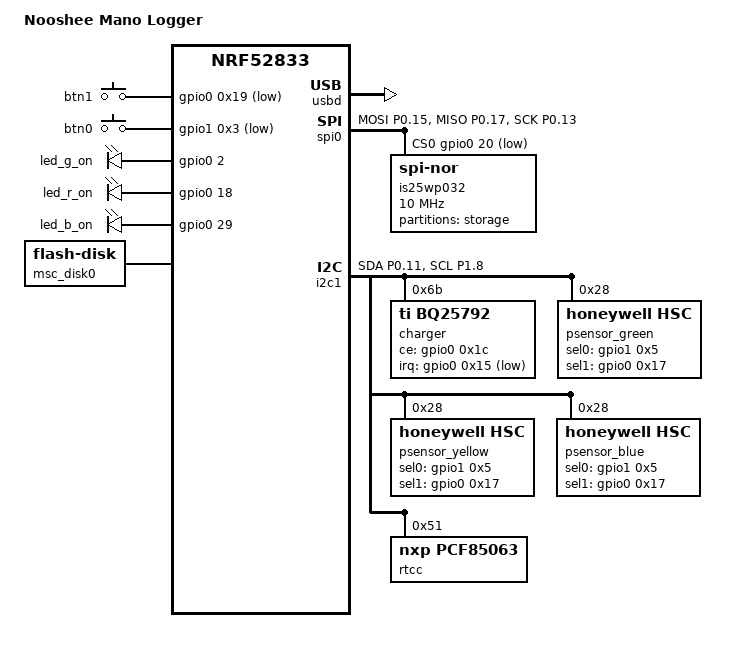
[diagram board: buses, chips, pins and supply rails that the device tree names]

/dts-v1/;
#include <nordic/nrf52833_qiaa.dtsi>

/ {
	model = "Nooshee Mano Logger";
	compatible = "nooshee,log-nrf52833";


	chosen {
		zephyr,sram = &sram0;
		zephyr,flash = &flash0;
		zephyr,code-partition = &slot0_partition;
		zephyr,shell-uart = &cdc_acm_uart0;
		nordic,pm-ext-flash = &is25wp032;
		zephyr,uart-mcumgr = &cdc_acm_uart0;
	};
	aliases {
		mcuboot-button0 = &btn0;
	};

    buttons {
		compatible = "gpio-keys";
		btn1: btn1 {
			gpios = < &gpio0 0x19 0x11 >;
		};
		btn0: btn0 {
			gpios = < &gpio1 0x3 0x11 >;
		};
	};

    leds {
        compatible = "gpio-leds";
        led_g_on { gpios = <&gpio0 2 GPIO_ACTIVE_HIGH>; }; // P0.02
        led_r_on { gpios = <&gpio0 18 GPIO_ACTIVE_HIGH>; }; // P0.18
        led_b_on { gpios = <&gpio0 29 GPIO_ACTIVE_HIGH>; }; // P0.29
    };
    msc_disk0 {
        compatible = "zephyr,flash-disk";
        partition = < &external_flash >;
        disk-name = "NAND";
        cache-size = < 0x1000 >;
    };


};




&usbd {
	compatible = "nordic,nrf-usbd";
	status = "okay"; 

	
	cdc_acm_uart0: cdc_acm_uart0 {
		compatible = "zephyr,cdc-acm-uart";
	};
};



&pinctrl {
    spi_psel:  spi_psel{group1 {psels = <NRF_PSEL(SPIM_MOSI, 0, 15)>,<NRF_PSEL(SPIM_MISO, 0, 17)>,<NRF_PSEL(SPIM_SCK, 0, 13)>;};};
    i2c_psel: i2c_psel{group1 {psels = <NRF_PSEL(TWIM_SDA, 0, 11)>,<NRF_PSEL(TWIM_SCL, 1, 8)>;};};
};

&gpio0 {
	status = "okay";
};

&gpio1 {
	status = "okay";
};

&gpiote {
	status = "okay";
	interrupts = <6 NRF_DEFAULT_IRQ_PRIORITY>;
};


&spi0 {
	status = "okay";
	compatible = "nordic,nrf-spi";
	pinctrl-0 = <&spi_psel>;
    pinctrl-1 = <&spi_psel>;
    pinctrl-names = "default", "sleep";
	cs-gpios = <&gpio0 20 GPIO_ACTIVE_LOW>;

    is25wp032: is25wp032@0 {
        compatible = "jedec,spi-nor";
        reg = < 0x0 >;
        spi-max-frequency = < 0x989680 >;
        size = < 0x2000000 >;
        jedec-id = [ 9D 70 16 ];
        status = "okay";
        partitions {
            compatible = "fixed-partitions";
            #address-cells = < 0x1 >;
            #size-cells = < 0x1 >;
            external_flash: partition@0 {
                label = "storage";
                reg = < 0x0 0x400000 >;
                phandle = < 0x8 >;
            };
        };
    };
};


&i2c1  {

	compatible = "nordic,nrf-twim";
	status = "okay";
	pinctrl-0 = <&i2c_psel>;
	pinctrl-1 = <&i2c_psel>;
	pinctrl-names = "default", "sleep";

    charger: bq25792@6b {
        compatible = "ti,bq25792";
        reg = < 0x6b >;
        ce-gpios = < &gpio0 0x1c 0x0 >;
        irq-gpios = < &gpio0 0x15 0x11 >;
        charge-ilim = < 0x3e8 >;
        input-ilim = < 0x3e8 >;
    };
    psensor_green: hsc0@28 {
        compatible = "honeywell,hsc";
        reg = < 0x28 >;
        sel0-gpios = < &gpio1 0x5 0x0 >;
        sel1-gpios = < &gpio0 0x17 0x0 >;
        id = < 0x0 >;
    };
    psensor_yellow: hsc1@28 {
        compatible = "honeywell,hsc";
        reg = < 0x28 >;
        sel0-gpios = < &gpio1 0x5 0x0 >;
        sel1-gpios = < &gpio0 0x17 0x0 >;
        id = < 0x1 >;
    };
    psensor_blue: hsc2@28 {
        compatible = "honeywell,hsc";
        reg = < 0x28 >;
        sel0-gpios = < &gpio1 0x5 0x0 >;
        sel1-gpios = < &gpio0 0x17 0x0 >;
        id = < 0x2 >;
    };
    rtcc: pcf85063@51 {
        compatible = "nxp,pcf85063";
        reg = < 0x51 >;
    };
};

&flash0 {
	partitions {
		compatible = "fixed-partitions";
		#address-cells = <1>;
		#size-cells = <1>;

		boot_partition: partition@0 {
			label = "mcuboot";
			reg = <0x0 0xc000>;
		};
		slot0_partition: partition@c000 {
			label = "image-0";
			reg = <0xc000 0x32000>;
		};
		slot1_partition: partition@3e000 {
			label = "image-1";
			reg = <0x3e000 0x32000>;
		};
		scratch_partition: partition@70000 {
			label = "image-scratch";
			reg = <0x70000 0xa000>;
		};
	};
};




